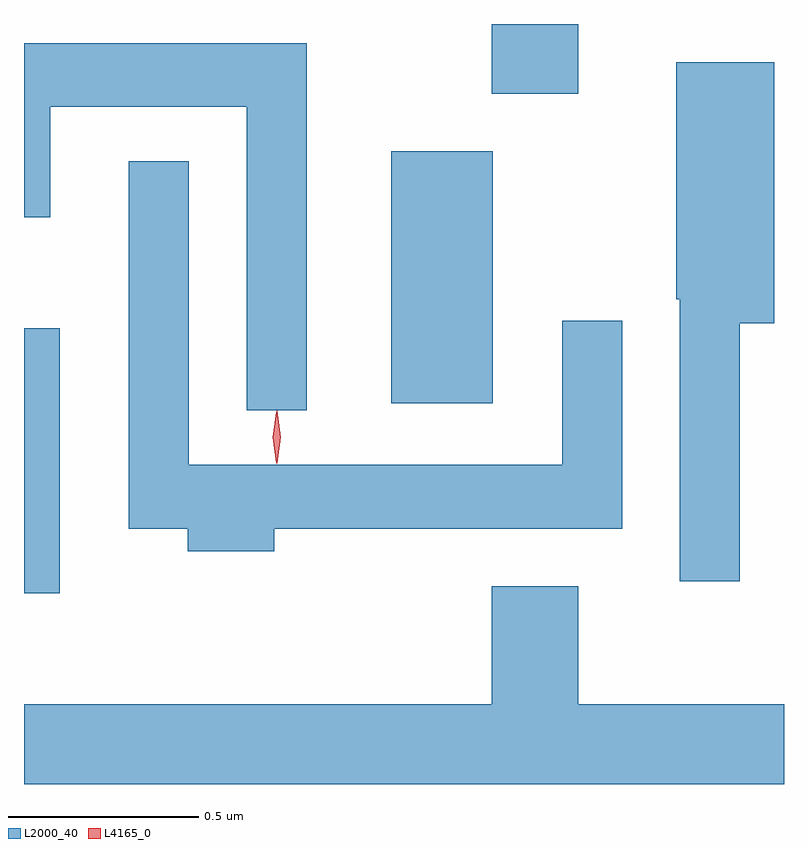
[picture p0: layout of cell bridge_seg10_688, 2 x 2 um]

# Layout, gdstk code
import gdstk
lib = gdstk.Library(unit=1e-6, precision=1e-09)
def R(c, l, rs):  # rectangles x0, y0, x1, y1
    for r in rs: c.add(gdstk.rectangle(r[:2], r[2:], *l))
def P(c, l, *ps):  # polygons
    for p in ps: c.add(gdstk.Polygon(p, *l))
L2000_40 = (2000, 40)
L4165_0 = (4165, 0)

bridge_seg10_688 = lib.new_cell('bridge_seg10_688')
R(bridge_seg10_688, L2000_40, [(1027.55,2107.816,1027.644,2108.514), (1028.516,2108.316,1028.784,2108.979), (1028.781,2109.131,1029.009,2109.314)])
P(bridge_seg10_688, L2000_40, [(1028.294,2109.264),(1027.55,2109.264),(1027.55,2108.806),(1027.619,2108.806),(1027.619,2109.096),(1028.136,2109.096),(1028.136,2108.298),(1028.294,2108.298)],
  [(1029.434,2108.526),(1029.524,2108.526),(1029.524,2109.214),(1029.266,2109.214),(1029.266,2108.59),(1029.276,2108.59),(1029.276,2107.848),(1029.434,2107.848)],
  [(1028.209,2107.986),(1029.124,2107.986),(1029.124,2108.533),(1028.966,2108.533),(1028.966,2108.154),(1027.984,2108.154),(1027.984,2108.953),(1027.826,2108.953),(1027.826,2107.986),(1027.981,2107.986),(1027.981,2107.926),(1028.209,2107.926)],
  [(1029.55,2107.524),(1029.009,2107.524),(1029.009,2107.834),(1028.781,2107.834),(1028.781,2107.524),(1027.55,2107.524),(1027.55,2107.314),(1029.55,2107.314)])
P(bridge_seg10_688, L4165_0, [(1028.214,2108.16),(1028.214,2108.16),(1028.205,2108.226),(1028.214,2108.292),(1028.215,2108.293),(1028.215,2108.292),(1028.224,2108.226),(1028.215,2108.16)],
  [(1028.215,2108.157),(1028.215,2108.158),(1028.205,2108.227),(1028.215,2108.296),(1028.215,2108.296),(1028.216,2108.296),(1028.225,2108.227),(1028.216,2108.158)])

lib.write_gds('bridge_seg10_688.gds')
